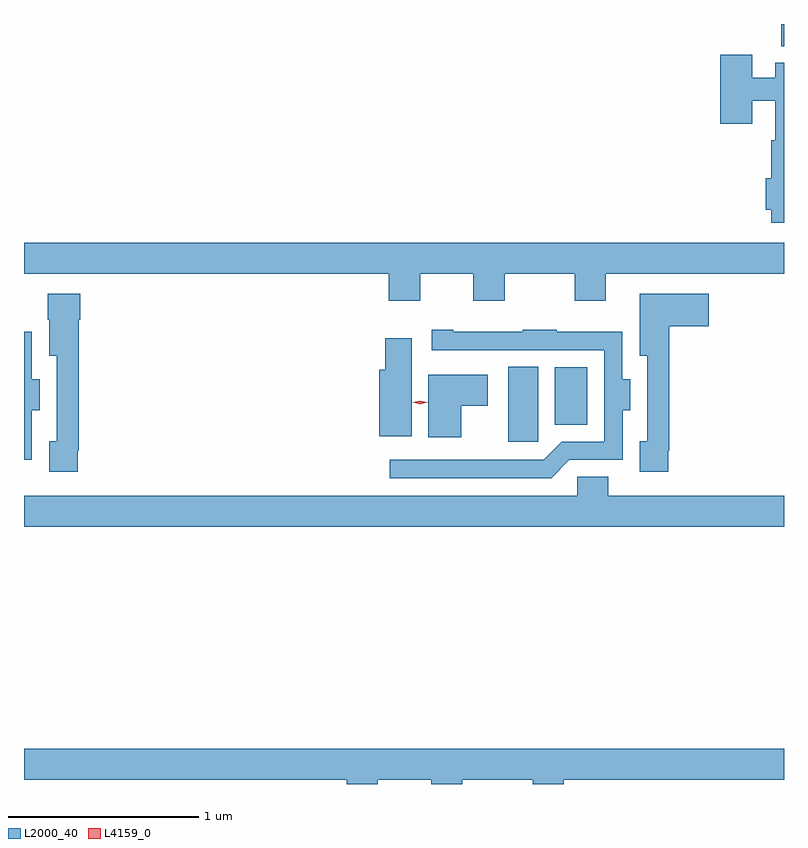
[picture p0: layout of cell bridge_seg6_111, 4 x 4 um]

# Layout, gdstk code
import gdstk
lib = gdstk.Library(unit=1e-6, precision=1e-09)
def R(c, l, rs):  # rectangles x0, y0, x1, y1
    for r in rs: c.add(gdstk.rectangle(r[:2], r[2:], *l))
def P(c, l, *ps):  # polygons
    for p in ps: c.add(gdstk.Polygon(p, *l))
L2000_40 = (2000, 40)
L4159_0 = (4159, 0)

bridge_seg6_111 = lib.new_cell('bridge_seg6_111')
R(bridge_seg6_111, L2000_40, [(459.254,985.079,459.412,985.475), (459.5,985.169,459.67,985.471), (460.691,987.16,460.706,987.278)])
P(bridge_seg6_111, L2000_40, [(460.706,987.075),(460.659,987.075),(460.659,986.995),(460.54,986.995),(460.54,987.115),(460.37,987.115),(460.37,986.754),(460.54,986.754),(460.54,986.874),(460.659,986.874),(460.659,986.666),(460.639,986.666),(460.639,986.466),(460.61,986.466),(460.61,986.3),(460.639,986.3),(460.639,986.232),(460.706,986.232)],
  [(458.791,985.964),(459.071,985.964),(459.071,985.821),(459.235,985.821),(459.235,985.964),(459.605,985.964),(459.605,985.821),(459.769,985.821),(459.769,985.964),(460.706,985.964),(460.706,986.128),(456.706,986.128),(456.706,985.964),(458.627,985.964),(458.627,985.821),(458.791,985.821)],
  [(460.096,985.033),(460.103,985.033),(460.103,985.688),(460.309,985.688),(460.309,985.858),(459.947,985.858),(459.947,985.532),(459.987,985.532),(459.987,985.081),(459.947,985.081),(459.947,984.921),(460.096,984.921)],
  [(456.988,985.033),(456.995,985.033),(456.995,985.722),(457.001,985.722),(457.001,985.858),(456.83,985.858),(456.83,985.722),(456.839,985.722),(456.839,985.532),(456.879,985.532),(456.879,985.081),(456.839,985.081),(456.839,984.921),(456.988,984.921)],
  [(459.576,984.984),(459.856,984.984),(459.856,985.244),(459.898,985.244),(459.898,985.408),(459.855,985.408),(459.855,985.657),(459.509,985.657),(459.509,985.669),(459.331,985.669),(459.331,985.657),(458.965,985.657),(458.965,985.669),(458.853,985.669),(458.853,985.56),(459.759,985.56),(459.759,985.08),(459.537,985.08),(459.441,984.984),(458.631,984.984),(458.631,984.888),(459.48,984.888)],
  [(456.748,985.244),(456.79,985.244),(456.79,985.408),(456.747,985.408),(456.747,985.657),(456.706,985.657),(456.706,984.984),(456.748,984.984)],
  [(458.746,985.624),(458.606,985.624),(458.606,985.459),(458.576,985.459),(458.576,985.107),(458.746,985.107)],
  [(459.007,985.268),(459.148,985.268),(459.148,985.432),(458.834,985.432),(458.834,985.103),(459.007,985.103)],
  [(460.706,984.796),(459.782,984.796),(459.782,984.894),(459.618,984.894),(459.618,984.796),(456.706,984.796),(456.706,984.632),(460.706,984.632)],
  [(458.569,983.3),(458.849,983.3),(458.849,983.278),(459.013,983.278),(459.013,983.3),(459.383,983.3),(459.383,983.278),(459.547,983.278),(459.547,983.3),(460.706,983.3),(460.706,983.464),(456.706,983.464),(456.706,983.3),(458.405,983.3),(458.405,983.278),(458.569,983.278)])
P(bridge_seg6_111, L4159_0, [(458.791,985.276),(458.752,985.286),(458.751,985.286),(458.752,985.286),(458.79,985.296),(458.829,985.287),(458.83,985.286),(458.829,985.286)])

lib.write_gds('bridge_seg6_111.gds')
